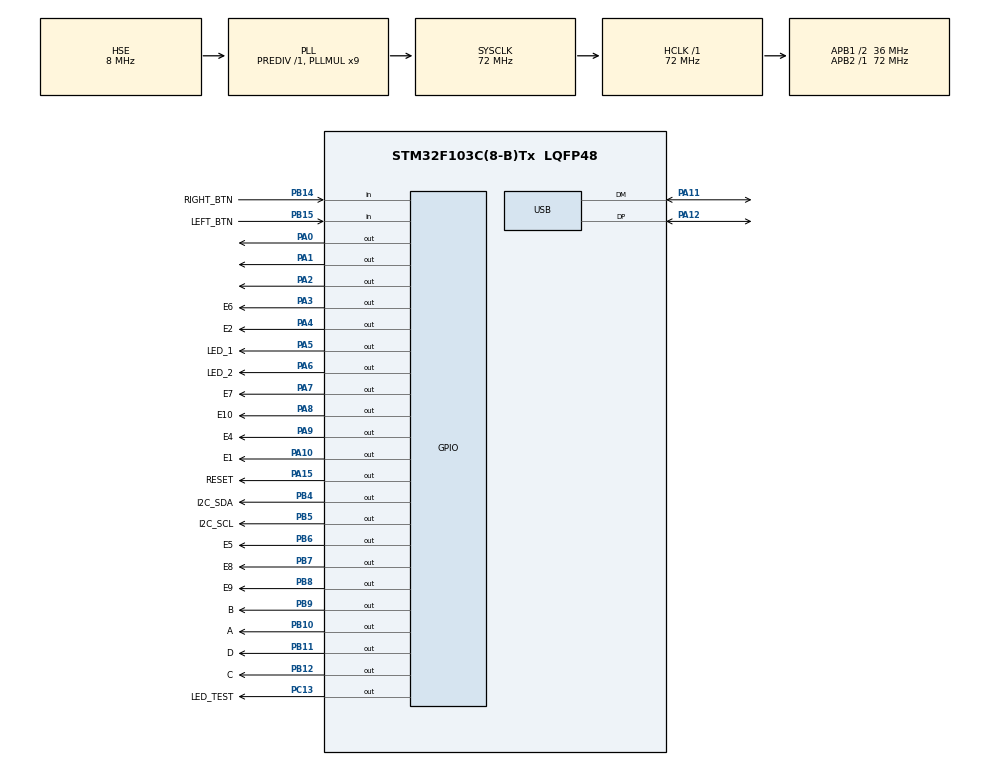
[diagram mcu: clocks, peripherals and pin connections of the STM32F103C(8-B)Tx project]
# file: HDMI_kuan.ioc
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Mcu.Family=STM32F1
Mcu.Name=STM32F103C(8-B)Tx
Mcu.Package=LQFP48
NVIC.PriorityGroup=NVIC_PRIORITYGROUP_4
NVIC.USB_LP_CAN1_RX0_IRQn=true\:0\:0\:false\:false\:true\:false\:true\:true
PA0-WKUP.Signal=GPIO_Output
PA1.Signal=GPIO_Output
PA10.GPIO_Label=E1
PA10.Signal=GPIO_Output
PA11.Mode=Device
PA11.Signal=USB_DM
PA12.Mode=Device
PA12.Signal=USB_DP
PA13.Mode=Serial_Wire
PA13.Signal=SYS_JTMS-SWDIO
PA14.Mode=Serial_Wire
PA14.Signal=SYS_JTCK-SWCLK
PA15.GPIO_Label=RESET
PA15.Signal=GPIO_Output
PA2.GPIO_ModeDefaultOutputPP=GPIO_MODE_OUTPUT_PP
PA2.GPIO_PuPd=GPIO_NOPULL
PA2.PinState=GPIO_PIN_RESET
PA2.Signal=GPIO_Output
PA3.GPIO_Label=E6
PA3.Signal=GPIO_Output
PA4.GPIO_Label=E2
PA4.Signal=GPIO_Output
PA5.GPIO_Label=LED_1
PA5.Signal=GPIO_Output
PA6.GPIO_Label=LED_2
PA6.Signal=GPIO_Output
PA7.GPIO_Label=E7
PA7.GPIO_ModeDefaultOutputPP=GPIO_MODE_OUTPUT_PP
PA7.GPIO_PuPd=GPIO_NOPULL
PA7.Signal=GPIO_Output
PA8.GPIO_Label=E10
PA8.GPIO_ModeDefaultOutputPP=GPIO_MODE_OUTPUT_PP
PA8.GPIO_PuPd=GPIO_NOPULL
PA8.PinState=GPIO_PIN_RESET
PA8.Signal=GPIO_Output
PA9.GPIO_Label=E4
PA9.Signal=GPIO_Output
PB10.GPIO_Label=A
PB10.Signal=GPIO_Output
PB11.GPIO_Label=D
PB11.Signal=GPIO_Output
PB12.GPIO_Label=C
PB12.Signal=GPIO_Output
PB14.GPIO_Label=RIGHT_BTN
PB14.Signal=GPIO_Input
PB15.GPIO_Label=LEFT_BTN
PB15.Signal=GPIO_Input
PB4.GPIO_Label=I2C_SDA
PB4.GPIO_ModeDefaultOutputPP=GPIO_MODE_OUTPUT_OD
PB4.GPIO_PuPd=GPIO_PULLUP
PB4.GPIO_Speed=GPIO_SPEED_FREQ_HIGH
PB4.PinState=GPIO_PIN_SET
PB4.Signal=GPIO_Output
PB5.GPIO_Label=I2C_SCL
PB5.GPIO_ModeDefaultOutputPP=GPIO_MODE_OUTPUT_OD
PB5.GPIO_PuPd=GPIO_PULLUP
PB5.GPIO_Speed=GPIO_SPEED_FREQ_HIGH
PB5.PinState=GPIO_PIN_SET
PB5.Signal=GPIO_Output
PB6.GPIO_Label=E5
PB6.Signal=GPIO_Output
PB7.GPIO_Label=E8
PB7.Signal=GPIO_Output
PB8.GPIO_Label=E9
PB8.Signal=GPIO_Output
PB9.GPIO_Label=B
PB9.Signal=GPIO_Output
PC13-TAMPER-RTC.GPIO_Label=LED_TEST
PC13-TAMPER-RTC.Signal=GPIO_Output
PD0-OSC_IN.Mode=HSE-External-Oscillator
PD0-OSC_IN.Signal=RCC_OSC_IN
PD1-OSC_OUT.Mode=HSE-External-Oscillator
PD1-OSC_OUT.Signal=RCC_OSC_OUT
ProjectManager.HeapSize=0x200
ProjectManager.StackSize=0x400
ProjectManager.TargetToolchain=STM32CubeIDE
RCC.AHBFreq_Value=72000000
RCC.APB1CLKDivider=RCC_HCLK_DIV2
RCC.APB1Freq_Value=36000000
RCC.APB1TimFreq_Value=72000000
RCC.APB2Freq_Value=72000000
RCC.APB2TimFreq_Value=72000000
RCC.HCLKFreq_Value=72000000
RCC.PLLMUL=RCC_PLL_MUL9
RCC.SYSCLKFreq_VALUE=72000000
RCC.SYSCLKSource=RCC_SYSCLKSOURCE_PLLCLK
RCC.USBFreq_Value=48000000
RCC.USBPrescaler=RCC_USBCLKSOURCE_PLL_DIV1_5
USB_DEVICE.CLASS_NAME_FS=CDC
USB_DEVICE.VirtualMode=Cdc
USB_DEVICE.VirtualModeFS=Cdc_FS
VP_USB_DEVICE_VS_USB_DEVICE_CDC_FS.Mode=CDC_FS
board=custom

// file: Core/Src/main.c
/* USER CODE BEGIN Header */
/**
  ******************************************************************************
  * @file           : main.c
  * @brief          : Main program body
  ******************************************************************************
  * @attention
  *
  * Copyright (c) 2026 STMicroelectronics.
  * All rights reserved.
  *
  * This software is licensed under terms that can be found in the LICENSE file
  * in the root directory of this software component.
  * If no LICENSE file comes with this software, it is provided AS-IS.
  *
  ******************************************************************************
  */
/* USER CODE END Header */
#include "main.h"
#include "usb_device.h"
#include "gpio.h"

/* USER CODE BEGIN Includes */
#include "i2cSoft.h"
#include "hardware.h"
#include<usbd_cdc_if.h>
#include <stdio.h>
#include <stdint.h>
#include "iic.h"
//#include "tc2.h"
#include "tc.h"
/* USER CODE END Includes */

/* USER CODE BEGIN PV */
uint8_t status = 0;
//0 - initial,
//1 - powerstage1,
//2 = 5V is ok,
//3 - toshiba init,
//4 - powerstage2,
//5 - display init
uint8_t stage = 0;
uint8_t new_stage = 2;
uint8_t edid = 0;
uint8_t target_edid = 0;
uint8_t target_mode = 0;
uint8_t old_status = 0;

//uint8_t state = 0;
// 1 - DS mode,
//2 - split mode,
//3 - HDMI off,
//4 - HDMI soft off
uint8_t lane_status = 0;
uint8_t mode = 0;
uint8_t hid_ver = 0;
uint8_t video_detected = 0;
uint8_t packet_num = 0;
uint8_t edid_ver = 0;
/* USER CODE END PV */

void SystemClock_Config(void);
/* USER CODE BEGIN PFP */
int _write(int fd, char *str, int len) {
    CDC_Transmit_FS((uint8_t*)str, len); // USB 전송!
    return len;
}
/* USER CODE END PFP */

/* USER CODE BEGIN 0 */

void readTCchip(){

	  uint8_t buf[] = {0, 0, 0};
    buf[0]=0x00;
    buf[1]=0x00;
    if(i2cSoft_WriteBuffer ( TOSHIBA_I2C_ADDR, (uint8_t *)buf, 2 ) != 0)
          {
    	printf("\r\nI2C error - device not found");
                        return;
          }
           else if(i2cSoft_ReadBuffer ( TOSHIBA_I2C_ADDR, (uint8_t *)buf, 2 ) != 0)
                 {
        	   printf("\r\nI2C error - device not responding");
        	   return;
                  }

    char a[2];
    printf("Toshiba chip ID = 0x");
    itoa(buf[0], a, 16);
    printf(a);
    if(buf[0] == 0)printf(a);
    itoa(buf[1], a, 16);
    printf(a);
    if(buf[1] == 0)printf(a);
    printf("%s", a);

}

/* USER CODE END 0 */

int main(void)
{

  /* MCU Configuration--------------------------------------------------------*/

  /* Reset of all peripherals, Initializes the Flash interface and the Systick. */
  HAL_Init();

  /* Configure the system clock */
  SystemClock_Config();

  /* Initialize all configured peripherals */
  MX_GPIO_Init();
  MX_USB_DEVICE_Init();
  /* USER CODE BEGIN 2 */
  /*----------i2c init----------*/
  //initI2C();
  //setAllPin();
  //lED INIT

// Stage0

 // HAL_GPIO_WritePin(A_GPIO_Port,A_Pin,GPIO_PIN_SET);// LCD RESET
  HAL_GPIO_WritePin(B_GPIO_Port,B_Pin,GPIO_PIN_SET);// LCD RESET
  HAL_GPIO_WritePin(GPIOA, GPIO_PIN_1, GPIO_PIN_SET); // E3: 3.3V HDMI (CRITICAL!)
  HAL_Delay(150);
  HAL_GPIO_WritePin(GPIOA, GPIO_PIN_1, GPIO_PIN_RESET); // E3: 3.3V HDMI (CRITICAL!)
  printf("Stage0 Init\n");
  MainPowerOn();
  TOSHIBA_RESET_OFF;
  MAIN_POWER_ON;
  //OLED_POWER_ON;  // Don't turn on OLED power yet, do it later
  //OLED_SET;
  TOSHIBA_RESET_ON;
  USB_ON;
  HAL_Delay(150);
  HAL_GPIO_WritePin(E5_GPIO_Port, E5_Pin, GPIO_PIN_SET);

  TOSHIBA_RESET_OFF;
  printf("Stage0 Done\n");
  printf("Stage1 Init\n");
  HAL_Delay(50);
  HAL_GPIO_WritePin(LED_2_GPIO_Port, LED_2_Pin, 1);
  HAL_Delay(500);
  HAL_GPIO_WritePin(LED_2_GPIO_Port, LED_2_Pin, 0);
  HAL_Delay(500);
  HAL_GPIO_WritePin(LED_2_GPIO_Port, LED_2_Pin, 1);
  HAL_Delay(500);
  HAL_GPIO_WritePin(LED_2_GPIO_Port, LED_2_Pin, 0);
  HAL_Delay(500);

  i2cSoft_Init();
  HAL_Delay(150);
  while(1){
  if(i2cSoft_DeviceExists(TOSHIBA_I2C_ADDR))
	  printf("check TOSHIBA CHIP\n");
  break;
  }
  printf("Detect chip Tochiba\n");
  HAL_Delay(100);
  readTCchip();
  printf("Enable power rails\n");
  // Enable power rails
  HAL_GPIO_WritePin(E6_GPIO_Port, E6_Pin, GPIO_PIN_SET); // 3.3V Display
  HAL_GPIO_WritePin(E4_GPIO_Port,E4_Pin,GPIO_PIN_RESET);// E4: 1.8V Display
  HAL_GPIO_TogglePin(E7_GPIO_Port, E7_Pin);
  HAL_Delay(500);

  // tc2_init
  //tc2_init();

  tc_task();
  /* USER CODE END 2 */

  /* Infinite loop */
  while (1)
  {

    /* USER CODE BEGIN 3 */
	  //InitHardware();
	 // StatusControl();
	  HAL_GPIO_TogglePin(LED_1_GPIO_Port, LED_1_Pin);
	  HAL_Delay(1000);

  }
  /* USER CODE END 3 */
}

void SystemClock_Config(void)
{
  RCC_OscInitTypeDef RCC_OscInitStruct = {0};
  RCC_ClkInitTypeDef RCC_ClkInitStruct = {0};
  RCC_PeriphCLKInitTypeDef PeriphClkInit = {0};

  /** Initializes the RCC Oscillators according to the specified parameters
  * in the RCC_OscInitTypeDef structure.
  */
  RCC_OscInitStruct.OscillatorType = RCC_OSCILLATORTYPE_HSE;
  RCC_OscInitStruct.HSEState = RCC_HSE_ON;
  RCC_OscInitStruct.HSEPredivValue = RCC_HSE_PREDIV_DIV1;
  RCC_OscInitStruct.HSIState = RCC_HSI_ON;
  RCC_OscInitStruct.PLL.PLLState = RCC_PLL_ON;
  RCC_OscInitStruct.PLL.PLLSource = RCC_PLLSOURCE_HSE;
  RCC_OscInitStruct.PLL.PLLMUL = RCC_PLL_MUL9;
  if (HAL_RCC_OscConfig(&RCC_OscInitStruct) != HAL_OK)
  {
    Error_Handler();
  }

  /** Initializes the CPU, AHB and APB buses clocks
  */
  RCC_ClkInitStruct.ClockType = RCC_CLOCKTYPE_HCLK|RCC_CLOCKTYPE_SYSCLK
                              |RCC_CLOCKTYPE_PCLK1|RCC_CLOCKTYPE_PCLK2;
  RCC_ClkInitStruct.SYSCLKSource = RCC_SYSCLKSOURCE_PLLCLK;
  RCC_ClkInitStruct.AHBCLKDivider = RCC_SYSCLK_DIV1;
  RCC_ClkInitStruct.APB1CLKDivider = RCC_HCLK_DIV2;
  RCC_ClkInitStruct.APB2CLKDivider = RCC_HCLK_DIV1;

  if (HAL_RCC_ClockConfig(&RCC_ClkInitStruct, FLASH_LATENCY_2) != HAL_OK)
  {
    Error_Handler();
  }
  PeriphClkInit.PeriphClockSelection = RCC_PERIPHCLK_USB;
  PeriphClkInit.UsbClockSelection = RCC_USBCLKSOURCE_PLL_DIV1_5;
  if (HAL_RCCEx_PeriphCLKConfig(&PeriphClkInit) != HAL_OK)
  {
    Error_Handler();
  }
}

/* USER CODE BEGIN 4 */

void tc2_init(void)
{
  // Init begin
  // Enable Pluse for using digital analoger
  HAL_GPIO_WritePin(E4_GPIO_Port,E4_Pin,GPIO_PIN_SET);// E4: 1.8V Display
  HAL_Delay(500);
  HAL_GPIO_WritePin(E4_GPIO_Port,E4_Pin,GPIO_PIN_RESET);// E4: 1.8V Display
  HAL_Delay(1000);

  // enable LCD power
  HAL_Delay(10);
  HAL_GPIO_WritePin(E2_GPIO_Port,E2_Pin,GPIO_PIN_SET);//E2: 1.2V MIPI
  HAL_Delay(10);
  HAL_GPIO_WritePin(E4_GPIO_Port,E4_Pin,GPIO_PIN_SET);//E4: 1.8V Display
  HAL_Delay(120);

  // Enable Bias voltage for LCD
  HAL_GPIO_TogglePin(E10_GPIO_Port, E10_Pin);
  HAL_Delay(20);

  // LCD RESET
  HAL_GPIO_WritePin(B_GPIO_Port,B_Pin,GPIO_PIN_RESET);//LCD RESET
  HAL_Delay(100);

  // init sequence
  HDMI_Startup();
  HAL_Delay(1000);

  // Enable backlight
  HAL_GPIO_WritePin(E8_GPIO_Port,E8_Pin,GPIO_PIN_SET); //Backlight V3
}

/* USER CODE END 4 */

void Error_Handler(void)
{
  __disable_irq();
  while (1)
  {
  }
}
